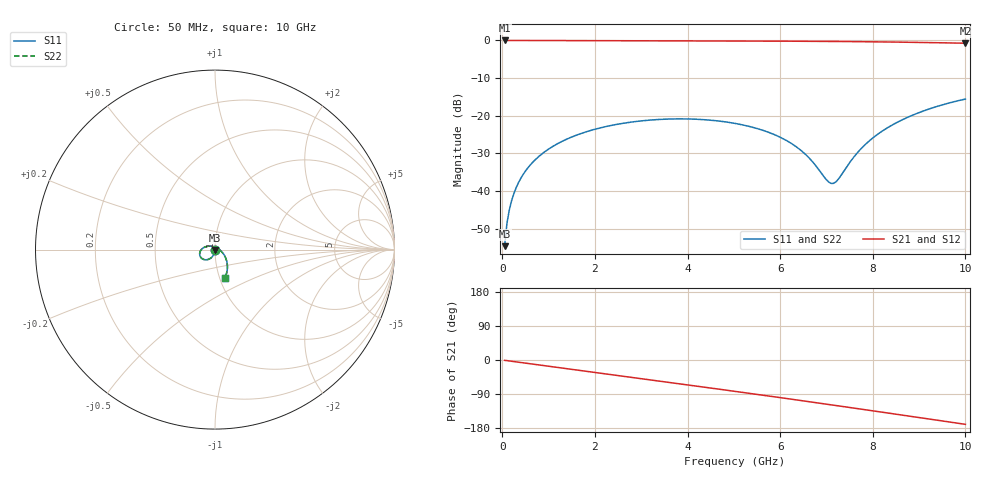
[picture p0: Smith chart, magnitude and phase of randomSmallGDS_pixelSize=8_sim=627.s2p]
! freq	dB(S11)	phase(S11)	dB(S12)	phase(S12)
!  dB(S21)	phase(S21)	dB(S22)	phase(S22)
!S-par simulation data
#  GHz  S  DB  R 50
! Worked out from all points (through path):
!   200 points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, 50 MHz to 10 GHz, reference 50 ohm
!   highest |S21| = 0.00 dB at 50 MHz (marker M1); lowest = -0.7 dB at 10 GHz (marker M2)
!   group delay of S21, straight-line fit = 47 ps
!   lowest |S11| = -54.7 dB at 50 MHz (marker M3), VSWR 1.00, Z = 50 - j0.185 ohm
!   |S11| at or under -10 dB: start of sweep to end of sweep
!   |S22| runs from -54.7 to -15.6 dB; largest |S21 - S12| = 0
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0.05  -54.67 -90.3  -0.00 -0.8  -0.00 -0.8  -54.67 -90.3
0.1  -48.65 -91.5  -0.00 -1.7  -0.00 -1.7  -48.65 -91.5
0.2  -42.64 -93.5  -0.01 -3.3  -0.01 -3.3  -42.64 -93.5
0.35  -37.79 -96.2  -0.01 -5.8  -0.01 -5.8  -37.79 -96.2
0.5  -34.71 -98.9  -0.01 -8.2  -0.01 -8.2  -34.71 -98.9
0.7  -31.84 -102.4  -0.02 -11.5  -0.02 -11.5  -31.84 -102.3
1  -28.87 -107.5  -0.02 -16.5  -0.02 -16.5  -28.87 -107.5
1.75  -24.53 -120.1  -0.05 -28.8  -0.05 -28.8  -24.53 -120.1
2.5  -22.24 -132.7  -0.07 -41.0  -0.07 -41.0  -22.24 -132.7
3.4  -20.99 -148.0  -0.10 -55.8  -0.10 -55.8  -20.99 -147.9
4.25  -20.98 -162.9  -0.12 -69.8  -0.12 -69.8  -20.98 -162.8
5.05  -22.10 -177.8  -0.15 -83.2  -0.15 -83.2  -22.10 -177.7
6.05  -26.03 159.5  -0.19 -100.1  -0.19 -100.1  -26.04 159.8
6.4  -28.74 147.9  -0.21 -106.1  -0.21 -106.1  -28.75 148.3
6.7  -32.25 131.9  -0.23 -111.3  -0.23 -111.3  -32.29 132.4
7  -37.04 94.4  -0.25 -116.5  -0.25 -116.5  -37.18 95.0
7.15  -37.98 58.8  -0.26 -119.1  -0.26 -119.1  -38.17 58.8
7.25  -36.97 35.4  -0.27 -120.9  -0.27 -120.9  -37.13 35.0
7.75  -28.73 -15.6  -0.33 -129.7  -0.33 -129.7  -28.77 -16.0
8.35  -22.97 -36.0  -0.41 -140.3  -0.41 -140.3  -22.98 -36.3
9.1  -18.71 -53.2  -0.54 -153.7  -0.54 -153.7  -18.72 -53.4
10  -15.57 -70.8  -0.74 -169.7  -0.74 -169.7  -15.58 -71.0
